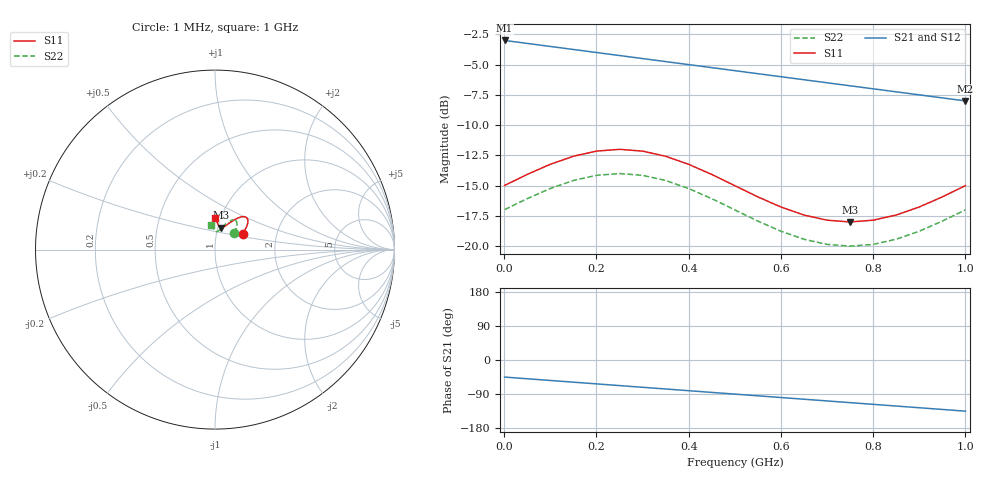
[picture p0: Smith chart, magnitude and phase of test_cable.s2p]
! Synthetic S2P fixture: test_cable.s2p
! Generated for testing purposes
# MHZ S DB R 50
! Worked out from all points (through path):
!   21 points, 1 MHz to 1 GHz, reference 50 ohm
!   highest |S21| = -3.00 dB at 1 MHz (marker M1); lowest = -8.0 dB at 1 GHz (marker M2)
!   lowest |S11| = -18.0 dB at 750.2 MHz (marker M3), VSWR 1.29, Z = 51.8 + j12.8 ohm
!   |S11| at or under -10 dB: start of sweep to end of sweep
!   |S22| runs from -20.0 to -14.0 dB; largest |S21 - S12| = 0
1  -14.98 30.1  -3.00 -45.1  -3.00 -45.1  -16.98 40.1
50.95  -14.06 33.1  -3.25 -49.6  -3.25 -49.6  -16.06 43.1
100.9  -13.22 36.1  -3.50 -54.1  -3.50 -54.1  -15.22 46.1
150.85  -12.56 39.1  -3.75 -58.6  -3.75 -58.6  -14.56 49.1
200.8  -12.14 42.0  -4.00 -63.1  -4.00 -63.1  -14.14 52.0
250.75  -12.00 45.0  -4.25 -67.6  -4.25 -67.6  -14.00 55.0
300.7  -12.15 48.0  -4.50 -72.1  -4.50 -72.1  -14.15 58.0
350.65  -12.58 51.0  -4.75 -76.6  -4.75 -76.6  -14.58 61.0
400.6  -13.25 54.0  -5.00 -81.1  -5.00 -81.1  -15.25 64.0
450.55  -14.08 57.0  -5.25 -85.5  -5.25 -85.5  -16.08 67.0
500.5  -15.01 60.0  -5.50 -90.0  -5.50 -90.0  -17.01 70.0
550.45  -15.94 63.0  -5.75 -94.5  -5.75 -94.5  -17.94 73.0
600.4  -16.77 66.0  -6.00 -99.0  -6.00 -99.0  -18.77 76.0
650.35  -17.43 69.0  -6.25 -103.5  -6.25 -103.5  -19.43 79.0
700.3  -17.85 72.0  -6.50 -108.0  -6.50 -108.0  -19.85 82.0
750.25  -18.00 75.0  -6.75 -112.5  -6.75 -112.5  -20.00 85.0
800.2  -17.85 78.0  -7.00 -117.0  -7.00 -117.0  -19.85 88.0
850.15  -17.43 81.0  -7.25 -121.5  -7.25 -121.5  -19.43 91.0
900.1  -16.76 84.0  -7.50 -126.0  -7.50 -126.0  -18.76 94.0
950.05  -15.93 87.0  -7.75 -130.5  -7.75 -130.5  -17.93 97.0
1000  -15.00 90.0  -8.00 -135.0  -8.00 -135.0  -17.00 100.0
